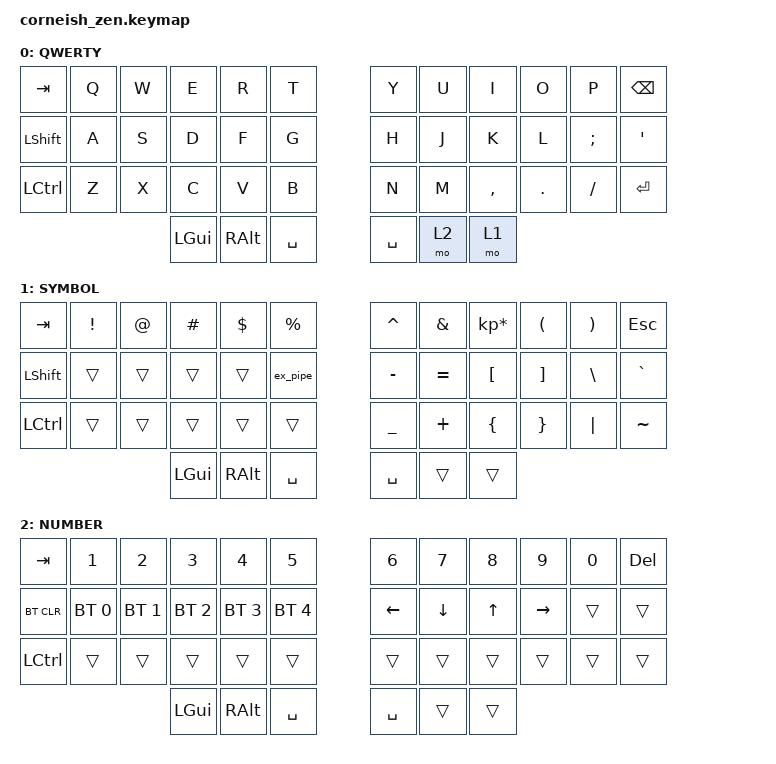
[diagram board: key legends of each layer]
#include <behaviors.dtsi>
#include <dt-bindings/zmk/keys.h>
#include <dt-bindings/zmk/bt.h>

/ {
  chosen {
    zmk,matrix_transform = &default_transform;
    //zmk,matrix_transform = &five_column_transform;
  };
};

/ {
    macros {
        ex_pipe: ex_pipe {
            label = "ZM_ex_pipe";
            compatible = "zmk,behavior-macro";
            #binding-cells = <0>;
            bindings = <&macro_tap &kp PIPE &kp GREATER_THAN>;
        };
    };
}; 

/ {
        keymap {
                compatible = "zmk,keymap";

                default_layer {
                        label = "QWERTY";
// -----------------------------------------------------------------------------------------
// |  TAB |  Q  |  W  |  E  |  R  |  T  |   |  Y  |  U   |  I  |  O  |  P  | BKSP |
// | SHFT |  A  |  S  |  D  |  F  |  G  |   |  H  |  J   |  K  |  L  |  ;  |  '   |
// | CTRL |  Z  |  X  |  C  |  V  |  B  |   |  N  |  M   |  ,  |  .  |  /  | ENT  |
//                    | GUI | ALT | SPC |   | SPC | RSE  | LWR |
                        bindings = <
   &kp TAB   &kp Q &kp W &kp E &kp R &kp T      &kp Y &kp U  &kp I     &kp O   &kp P    &kp BSPC
   &kp LSHFT &kp A &kp S &kp D &kp F &kp G      &kp H &kp J  &kp K     &kp L   &kp SEMI &kp SQT
   &kp LCTRL &kp Z &kp X &kp C &kp V &kp B      &kp N &kp M  &kp COMMA &kp DOT &kp FSLH &kp RET
                   &kp LGUI &kp RALT &kp SPACE  &kp SPACE    &mo 2     &mo 1
                        >;
                };

                lower_layer {
                        label = "SYMBOL";
// -----------------------------------------------------------------------------------------
// |  TAB |  !  |  @  |  #  |  $  |  %  |   |  ^  |  &  |  *  |  (  |  )  | ESC |
// | SHFT |     |     |     |     |  |> |   |  -  |  =  |  [  |  ]  |  \  |  `   |
// | CTRL |     |     |     |     |     |   |  _  |  +  |  {  |  }  | "|" |  ~   |
//                    | GUI | ALT | SPC |   | SPC |     |     |
                        bindings = <
   &kp TAB   &kp EXCL &kp AT &kp HASH &kp DLLR  &kp PRCNT   &kp CARET &kp AMPS  &kp KP_MULTIPLY &kp LPAR &kp RPAR &kp ESC
   &kp LSHFT &trans   &trans &trans   &trans    &ex_pipe    &kp MINUS &kp EQUAL &kp LBKT        &kp RBKT &kp BSLH &kp GRAVE
   &kp LCTRL &trans   &trans &trans   &trans    &trans      &kp UNDER &kp PLUS  &kp LBRC        &kp RBRC &kp PIPE &kp TILDE
                    	     &kp LGUI &kp RALT  &kp SPACE   &kp SPACE &trans    &trans  
                        >;
                };

                raise_layer {
                        label = "NUMBER";
// -----------------------------------------------------------------------------------------
// |  TAB |  1  |  2  |  3  |  4  |  5  |   |  6  |  7  |  8  |  9  |  0  |  DEL |
// | BTCLR| BT1 | BT2 | BT3 | BT4 | BT5 |   | LFT | DWN |  UP | RGT |     |      |
// | CTRL |     |     |     |     |     |   |     |     |     |     |     |      |
//                    | GUI | ALT | SPC |   | SPC |     |     |
                        bindings = <
   &kp TAB    &kp N1       &kp N2       &kp N3       &kp N4       &kp N5         &kp N6     &kp N7   &kp N8 &kp N9    &kp N0 &kp DEL
   &bt BT_CLR &bt BT_SEL 0 &bt BT_SEL 1 &bt BT_SEL 2 &bt BT_SEL 3 &bt BT_SEL 4   &kp LEFT   &kp DOWN &kp UP &kp RIGHT &trans &trans
   &kp LCTRL  &trans       &trans       &trans       &trans       &trans         &trans     &trans   &trans &trans    &trans &trans
                          	        &kp LGUI     &kp RALT     &kp SPACE      &kp SPACE  &trans   &trans  
                        >;
                };
        };
};
